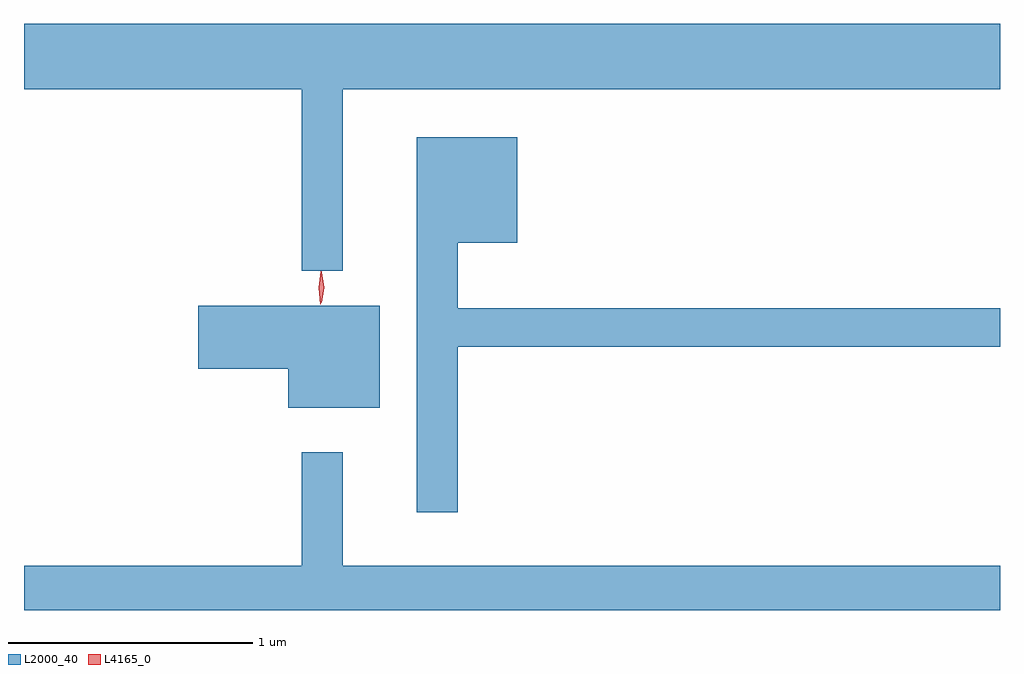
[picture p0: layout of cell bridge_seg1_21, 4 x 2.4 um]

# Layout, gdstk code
import gdstk
lib = gdstk.Library(unit=1e-6, precision=1e-09)
def P(c, l, *ps):  # polygons
    for p in ps: c.add(gdstk.Polygon(p, *l))
L2000_40 = (2000, 40)
L4165_0 = (4165, 0)

bridge_seg1_21 = lib.new_cell('bridge_seg1_21')
P(bridge_seg1_21, L2000_40, [(1566.759,844.076),(1569.452,844.076),(1569.452,844.344),(1565.452,844.344),(1565.452,844.076),(1566.591,844.076),(1566.591,843.333),(1566.759,843.333)],
  [(1567.229,843.021),(1569.452,843.021),(1569.452,843.179),(1567.229,843.179),(1567.229,843.446),(1567.474,843.446),(1567.474,843.879),(1567.061,843.879),(1567.061,842.343),(1567.229,842.343)],
  [(1566.909,843.189),(1566.166,843.189),(1566.166,842.931),(1566.536,842.931),(1566.536,842.771),(1566.909,842.771)],
  [(1569.452,842.124),(1566.759,842.124),(1566.759,842.588),(1566.591,842.588),(1566.591,842.124),(1565.452,842.124),(1565.452,841.941),(1569.452,841.941)])
P(bridge_seg1_21, L4165_0, [(1566.667,843.194),(1566.659,843.262),(1566.669,843.33),(1566.669,843.33),(1566.67,843.33),(1566.678,843.262),(1566.668,843.194),(1566.668,843.194)],
  [(1566.672,843.2),(1566.672,843.2),(1566.662,843.263),(1566.672,843.326),(1566.672,843.327),(1566.673,843.326),(1566.682,843.263),(1566.673,843.2)])

lib.write_gds('bridge_seg1_21.gds')
